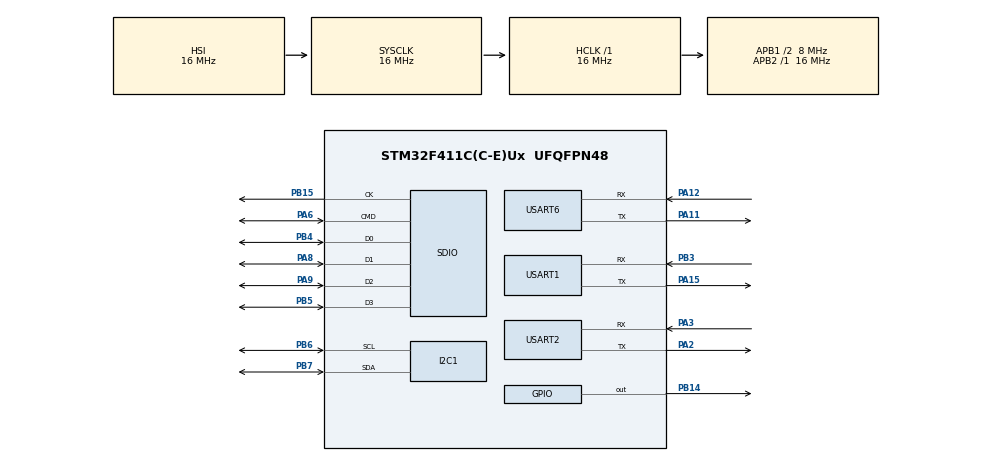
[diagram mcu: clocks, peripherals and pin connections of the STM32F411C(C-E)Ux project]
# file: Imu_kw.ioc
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Dma.Request0=SDIO_RX
Dma.Request1=SDIO_TX
Dma.Request2=USART2_RX
Dma.SDIO_RX.0.Direction=DMA_PERIPH_TO_MEMORY
Dma.SDIO_RX.0.FIFOMode=DMA_FIFOMODE_ENABLE
Dma.SDIO_RX.0.FIFOThreshold=DMA_FIFO_THRESHOLD_FULL
Dma.SDIO_RX.0.Instance=DMA2_Stream3
Dma.SDIO_RX.0.MemBurst=DMA_MBURST_INC4
Dma.SDIO_RX.0.MemDataAlignment=DMA_MDATAALIGN_WORD
Dma.SDIO_RX.0.MemInc=DMA_MINC_ENABLE
Dma.SDIO_RX.0.Mode=DMA_PFCTRL
Dma.SDIO_RX.0.PeriphBurst=DMA_PBURST_INC4
Dma.SDIO_RX.0.PeriphDataAlignment=DMA_PDATAALIGN_WORD
Dma.SDIO_RX.0.PeriphInc=DMA_PINC_DISABLE
Dma.SDIO_RX.0.Priority=DMA_PRIORITY_LOW
Dma.SDIO_TX.1.Direction=DMA_MEMORY_TO_PERIPH
Dma.SDIO_TX.1.FIFOMode=DMA_FIFOMODE_ENABLE
Dma.SDIO_TX.1.FIFOThreshold=DMA_FIFO_THRESHOLD_FULL
Dma.SDIO_TX.1.Instance=DMA2_Stream6
Dma.SDIO_TX.1.MemBurst=DMA_MBURST_INC4
Dma.SDIO_TX.1.MemDataAlignment=DMA_MDATAALIGN_WORD
Dma.SDIO_TX.1.MemInc=DMA_MINC_ENABLE
Dma.SDIO_TX.1.Mode=DMA_PFCTRL
Dma.SDIO_TX.1.PeriphBurst=DMA_PBURST_INC4
Dma.SDIO_TX.1.PeriphDataAlignment=DMA_PDATAALIGN_WORD
Dma.SDIO_TX.1.PeriphInc=DMA_PINC_DISABLE
Dma.SDIO_TX.1.Priority=DMA_PRIORITY_LOW
Dma.USART2_RX.2.Direction=DMA_PERIPH_TO_MEMORY
Dma.USART2_RX.2.FIFOMode=DMA_FIFOMODE_DISABLE
Dma.USART2_RX.2.Instance=DMA1_Stream5
Dma.USART2_RX.2.MemDataAlignment=DMA_MDATAALIGN_BYTE
Dma.USART2_RX.2.MemInc=DMA_MINC_ENABLE
Dma.USART2_RX.2.Mode=DMA_CIRCULAR
Dma.USART2_RX.2.PeriphDataAlignment=DMA_PDATAALIGN_BYTE
Dma.USART2_RX.2.PeriphInc=DMA_PINC_DISABLE
Dma.USART2_RX.2.Priority=DMA_PRIORITY_LOW
FATFS._MAX_SS=4096
FREERTOS.Tasks01=defaultTask,0,128,StartDefaultTask,Default,NULL
FREERTOS.configTICK_RATE_HZ=1000
Mcu.Family=STM32F4
Mcu.Name=STM32F411C(C-E)Ux
Mcu.Package=UFQFPN48
NVIC.DMA1_Stream5_IRQn=true\:5\:0\:false\:false\:true\:true\:false\:true
NVIC.DMA2_Stream3_IRQn=true\:5\:0\:false\:false\:true\:true\:false\:true
NVIC.DMA2_Stream6_IRQn=true\:5\:0\:false\:false\:true\:true\:false\:true
NVIC.PriorityGroup=NVIC_PRIORITYGROUP_4
NVIC.SDIO_IRQn=true\:5\:0\:false\:false\:true\:true\:true\:true
NVIC.TIM4_IRQn=true\:5\:0\:false\:false\:true\:true\:true\:true
NVIC.TIM5_IRQn=true\:0\:0\:false\:false\:true\:false\:false\:true
NVIC.TimeBase=TIM5_IRQn
NVIC.TimeBaseIP=TIM5
NVIC.USART1_IRQn=true\:5\:0\:false\:false\:true\:true\:true\:true
PA11.Mode=Asynchronous
PA11.Signal=USART6_TX
PA12.Mode=Asynchronous
PA12.Signal=USART6_RX
PA15.Mode=Asynchronous
PA15.Signal=USART1_TX
PA2.Mode=Asynchronous
PA2.Signal=USART2_TX
PA3.Mode=Asynchronous
PA3.Signal=USART2_RX
PA6.GPIO_PuPd=GPIO_PULLUP
PA6.Mode=SD_4_bits_Wide_bus
PA6.Signal=SDIO_CMD
PA8.GPIO_PuPd=GPIO_PULLUP
PA8.Mode=SD_4_bits_Wide_bus
PA8.Signal=SDIO_D1
PA9.GPIO_PuPd=GPIO_PULLUP
PA9.Mode=SD_4_bits_Wide_bus
PA9.Signal=SDIO_D2
PB14.Signal=GPIO_Output
PB15.Mode=SD_4_bits_Wide_bus
PB15.Signal=SDIO_CK
PB3.Mode=Asynchronous
PB3.Signal=USART1_RX
PB4.GPIO_PuPd=GPIO_PULLUP
PB4.Mode=SD_4_bits_Wide_bus
PB4.Signal=SDIO_D0
PB5.GPIO_PuPd=GPIO_PULLUP
PB5.Mode=SD_4_bits_Wide_bus
PB5.Signal=SDIO_D3
PB6.Mode=I2C
PB6.Signal=I2C1_SCL
PB7.Mode=I2C
PB7.Signal=I2C1_SDA
PH0\ -\ OSC_IN.Mode=HSE-External-Oscillator
PH0\ -\ OSC_IN.Signal=RCC_OSC_IN
PH1\ -\ OSC_OUT.Mode=HSE-External-Oscillator
PH1\ -\ OSC_OUT.Signal=RCC_OSC_OUT
ProjectManager.HeapSize=0x200
ProjectManager.StackSize=0x400
ProjectManager.TargetToolchain=MDK-ARM V5
RCC.48MHZClocksFreq_Value=42666666.666666664
RCC.AHBFreq_Value=16000000
RCC.APB1CLKDivider=RCC_HCLK_DIV2
RCC.APB1Freq_Value=8000000
RCC.APB1TimFreq_Value=16000000
RCC.APB2Freq_Value=16000000
RCC.APB2TimFreq_Value=16000000
RCC.CortexFreq_Value=16000000
RCC.HCLKFreq_Value=16000000
RCC.HSE_VALUE=8000000
RCC.HSI_VALUE=16000000
RCC.LSE_VALUE=32768
RCC.PLLM=8
RCC.PLLN=64
RCC.PLLQ=3
RCC.SYSCLKFreq_VALUE=16000000
RCC.VCOOutputFreq_Value=128000000
SDIO.ClockDiv=3
TIM4.Period=10-1
TIM4.Prescaler=1600-1
TIM4.TIM_MasterOutputTrigger=TIM_TRGO_UPDATE
USART1.VirtualMode=VM_ASYNC
USART2.VirtualMode=VM_ASYNC
USART6.VirtualMode=VM_ASYNC
VP_FATFS_VS_SDIO.Mode=SDIO
VP_FREERTOS_VS_CMSIS_V1.Mode=CMSIS_V1
VP_SYS_VS_tim5.Mode=TIM5
VP_TIM4_VS_ClockSourceINT.Mode=Internal
board=custom

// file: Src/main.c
/* USER CODE BEGIN Header */
/**
  ******************************************************************************
  * @file           : main.c
  * @brief          : Main program body
  ******************************************************************************
  * @attention
  *
  * <h2><center>&copy; Copyright (c) 2020 STMicroelectronics.
  * All rights reserved.</center></h2>
  *
  * This software component is licensed by ST under Ultimate Liberty license
  * SLA0044, the "License"; You may not use this file except in compliance with
  * the License. You may obtain a copy of the License at:
  *                             www.st.com/SLA0044
  *
  ******************************************************************************
  */
/* USER CODE END Header */

#include "main.h"
#include "cmsis_os.h"
#include "fatfs.h"

/* USER CODE BEGIN Includes */
#include <stdio.h>
#include <string.h>
#include <stdbool.h>
//#include "UartRingbuffer.h"
/* USER CODE END Includes */

I2C_HandleTypeDef hi2c1;

SD_HandleTypeDef hsd;
DMA_HandleTypeDef hdma_sdio_rx;
DMA_HandleTypeDef hdma_sdio_tx;

TIM_HandleTypeDef htim4;

UART_HandleTypeDef huart1;
UART_HandleTypeDef huart2;
UART_HandleTypeDef huart6;
DMA_HandleTypeDef hdma_usart2_rx;

osThreadId defaultTaskHandle;

void SystemClock_Config(void);
static void MX_GPIO_Init(void);
static void MX_DMA_Init(void);
static void MX_USART1_UART_Init(void);
static void MX_USART2_UART_Init(void);
static void MX_SDIO_SD_Init(void);
static void MX_TIM4_Init(void);
static void MX_USART6_UART_Init(void);
static void MX_I2C1_Init(void);
void StartDefaultTask(void const * argument);

/* USER CODE BEGIN 0 */
//SD card variables
	extern char SDPath[4];   /* SD logical drive path */
	extern FATFS SDFatFS;    /* File system object for SD logical drive */
	extern FIL SDFile;       /* File object for SD */

//FILE I/O operation
	FRESULT res;                                          /* FatFs function common result code */
	uint32_t byteswritten, bytesread;                     /* File write/read counts */
	uint8_t wtext[] = "kwyeum!!xx\r\n"; 				  /* File write buffer */
	uint8_t rtext[100];                                   /* File read buffer */

	FATFS myFATAS;
	FIL myFILE;
	UINT testByte; // error detection

//Communication buffers
	uint8_t txdata[27]; // 28byte transfer // right foot(10) + left foot(10 + 2) + 4

	uint8_t rxdata[52]; // 52byte transfer + CRC
	uint8_t received_callback[1]; // 24byte transfer // right foot(10) + left foot(10 + 2) + 4
	unsigned char rxBuf[27] = {0};
	unsigned char rxBuf_PC[5] = {0};

	unsigned char rxBuf_transmit[27] = {0};
	unsigned char buff_index = 0;

	//------ring buffer with DMA
	uint16_t position = 0;
	char buffer[5];

	char myRdDATA[15];
//CRC Array
	uint32_t crcVal; // 4byte
	uint8_t test_k;

// timer var
	uint16_t ms_tmr = 0;
	uint16_t ms_sv_tmr = 0;

// flag data
	bool data_flag = false;

	bool datasave_flg = true;
	bool dataend_flg = false;

	bool data_received_flag = false;
	bool data_transmit_flag = false;
	bool stop = false;

	uint16_t tmr = 0;
/* USER CODE END 0 */

int main(void)
{
  /* USER CODE BEGIN 1 */

	test_k = 0;

  /* USER CODE END 1 */

  /* MCU Configuration--------------------------------------------------------*/

  /* Reset of all peripherals, Initializes the Flash interface and the Systick. */
  HAL_Init();

  /* Configure the system clock */
  SystemClock_Config();

  /* Initialize all configured peripherals */
  MX_GPIO_Init();
  MX_DMA_Init();
  MX_USART1_UART_Init();
  MX_USART2_UART_Init();
  MX_SDIO_SD_Init();
  MX_TIM4_Init();
  MX_USART6_UART_Init();
  MX_I2C1_Init();
  /* USER CODE BEGIN 2 */
	HAL_UART_Receive_DMA(&huart2, (uint8_t *)rxBuf, 27); //dma mode only in the mcu data

	HAL_TIM_Base_Start_IT(&htim4);
  /* USER CODE END 2 */

  /* Create the thread(s) */
  /* definition and creation of defaultTask */
  osThreadDef(defaultTask, StartDefaultTask, osPriorityNormal, 0, 128);
  defaultTaskHandle = osThreadCreate(osThread(defaultTask), NULL);

  /* Start scheduler */
  osKernelStart();

  /* We should never get here as control is now taken by the scheduler */

  /* Infinite loop */
  while (1)
  {

  }
}

void SystemClock_Config(void)
{
  RCC_OscInitTypeDef RCC_OscInitStruct = {0};
  RCC_ClkInitTypeDef RCC_ClkInitStruct = {0};

  /** Configure the main internal regulator output voltage
  */
  __HAL_RCC_PWR_CLK_ENABLE();
  __HAL_PWR_VOLTAGESCALING_CONFIG(PWR_REGULATOR_VOLTAGE_SCALE1);
  /** Initializes the CPU, AHB and APB busses clocks
  */
  RCC_OscInitStruct.OscillatorType = RCC_OSCILLATORTYPE_HSI;
  RCC_OscInitStruct.HSIState = RCC_HSI_ON;
  RCC_OscInitStruct.HSICalibrationValue = RCC_HSICALIBRATION_DEFAULT;
  RCC_OscInitStruct.PLL.PLLState = RCC_PLL_ON;
  RCC_OscInitStruct.PLL.PLLSource = RCC_PLLSOURCE_HSI;
  RCC_OscInitStruct.PLL.PLLM = 8;
  RCC_OscInitStruct.PLL.PLLN = 64;
  RCC_OscInitStruct.PLL.PLLP = RCC_PLLP_DIV2;
  RCC_OscInitStruct.PLL.PLLQ = 3;
  if (HAL_RCC_OscConfig(&RCC_OscInitStruct) != HAL_OK)
  {
    Error_Handler();
  }
  /** Initializes the CPU, AHB and APB busses clocks
  */
  RCC_ClkInitStruct.ClockType = RCC_CLOCKTYPE_HCLK|RCC_CLOCKTYPE_SYSCLK
                              |RCC_CLOCKTYPE_PCLK1|RCC_CLOCKTYPE_PCLK2;
  RCC_ClkInitStruct.SYSCLKSource = RCC_SYSCLKSOURCE_HSI;
  RCC_ClkInitStruct.AHBCLKDivider = RCC_SYSCLK_DIV1;
  RCC_ClkInitStruct.APB1CLKDivider = RCC_HCLK_DIV2;
  RCC_ClkInitStruct.APB2CLKDivider = RCC_HCLK_DIV1;

  if (HAL_RCC_ClockConfig(&RCC_ClkInitStruct, FLASH_LATENCY_0) != HAL_OK)
  {
    Error_Handler();
  }
}

static void MX_I2C1_Init(void)
{

  hi2c1.Instance = I2C1;
  hi2c1.Init.ClockSpeed = 100000;
  hi2c1.Init.DutyCycle = I2C_DUTYCYCLE_2;
  hi2c1.Init.OwnAddress1 = 0;
  hi2c1.Init.AddressingMode = I2C_ADDRESSINGMODE_7BIT;
  hi2c1.Init.DualAddressMode = I2C_DUALADDRESS_DISABLE;
  hi2c1.Init.OwnAddress2 = 0;
  hi2c1.Init.GeneralCallMode = I2C_GENERALCALL_DISABLE;
  hi2c1.Init.NoStretchMode = I2C_NOSTRETCH_DISABLE;
  if (HAL_I2C_Init(&hi2c1) != HAL_OK)
  {
    Error_Handler();
  }

}

static void MX_SDIO_SD_Init(void)
{

  hsd.Instance = SDIO;
  hsd.Init.ClockEdge = SDIO_CLOCK_EDGE_RISING;
  hsd.Init.ClockBypass = SDIO_CLOCK_BYPASS_DISABLE;
  hsd.Init.ClockPowerSave = SDIO_CLOCK_POWER_SAVE_DISABLE;
  hsd.Init.BusWide = SDIO_BUS_WIDE_1B;
  hsd.Init.HardwareFlowControl = SDIO_HARDWARE_FLOW_CONTROL_DISABLE;
  hsd.Init.ClockDiv = 3;

}

static void MX_TIM4_Init(void)
{

  TIM_ClockConfigTypeDef sClockSourceConfig = {0};
  TIM_MasterConfigTypeDef sMasterConfig = {0};

  htim4.Instance = TIM4;
  htim4.Init.Prescaler = 1600-1;
  htim4.Init.CounterMode = TIM_COUNTERMODE_UP;
  htim4.Init.Period = 10-1;
  htim4.Init.ClockDivision = TIM_CLOCKDIVISION_DIV1;
  htim4.Init.AutoReloadPreload = TIM_AUTORELOAD_PRELOAD_DISABLE;
  if (HAL_TIM_Base_Init(&htim4) != HAL_OK)
  {
    Error_Handler();
  }
  sClockSourceConfig.ClockSource = TIM_CLOCKSOURCE_INTERNAL;
  if (HAL_TIM_ConfigClockSource(&htim4, &sClockSourceConfig) != HAL_OK)
  {
    Error_Handler();
  }
  sMasterConfig.MasterOutputTrigger = TIM_TRGO_UPDATE;
  sMasterConfig.MasterSlaveMode = TIM_MASTERSLAVEMODE_DISABLE;
  if (HAL_TIMEx_MasterConfigSynchronization(&htim4, &sMasterConfig) != HAL_OK)
  {
    Error_Handler();
  }

}

static void MX_USART1_UART_Init(void)
{

  huart1.Instance = USART1;
  huart1.Init.BaudRate = 115200;
  huart1.Init.WordLength = UART_WORDLENGTH_8B;
  huart1.Init.StopBits = UART_STOPBITS_1;
  huart1.Init.Parity = UART_PARITY_NONE;
  huart1.Init.Mode = UART_MODE_TX_RX;
  huart1.Init.HwFlowCtl = UART_HWCONTROL_NONE;
  huart1.Init.OverSampling = UART_OVERSAMPLING_16;
  if (HAL_UART_Init(&huart1) != HAL_OK)
  {
    Error_Handler();
  }

}

static void MX_USART2_UART_Init(void)
{

  huart2.Instance = USART2;
  huart2.Init.BaudRate = 115200;
  huart2.Init.WordLength = UART_WORDLENGTH_8B;
  huart2.Init.StopBits = UART_STOPBITS_1;
  huart2.Init.Parity = UART_PARITY_NONE;
  huart2.Init.Mode = UART_MODE_TX_RX;
  huart2.Init.HwFlowCtl = UART_HWCONTROL_NONE;
  huart2.Init.OverSampling = UART_OVERSAMPLING_16;
  if (HAL_UART_Init(&huart2) != HAL_OK)
  {
    Error_Handler();
  }

}

static void MX_USART6_UART_Init(void)
{

  huart6.Instance = USART6;
  huart6.Init.BaudRate = 115200;
  huart6.Init.WordLength = UART_WORDLENGTH_8B;
  huart6.Init.StopBits = UART_STOPBITS_1;
  huart6.Init.Parity = UART_PARITY_NONE;
  huart6.Init.Mode = UART_MODE_TX_RX;
  huart6.Init.HwFlowCtl = UART_HWCONTROL_NONE;
  huart6.Init.OverSampling = UART_OVERSAMPLING_16;
  if (HAL_UART_Init(&huart6) != HAL_OK)
  {
    Error_Handler();
  }

}

static void MX_DMA_Init(void)
{

  /* DMA controller clock enable */
  __HAL_RCC_DMA2_CLK_ENABLE();
  __HAL_RCC_DMA1_CLK_ENABLE();

  /* DMA interrupt init */
  /* DMA1_Stream5_IRQn interrupt configuration */
  HAL_NVIC_SetPriority(DMA1_Stream5_IRQn, 5, 0);
  HAL_NVIC_EnableIRQ(DMA1_Stream5_IRQn);
  /* DMA2_Stream3_IRQn interrupt configuration */
  HAL_NVIC_SetPriority(DMA2_Stream3_IRQn, 5, 0);
  HAL_NVIC_EnableIRQ(DMA2_Stream3_IRQn);
  /* DMA2_Stream6_IRQn interrupt configuration */
  HAL_NVIC_SetPriority(DMA2_Stream6_IRQn, 5, 0);
  HAL_NVIC_EnableIRQ(DMA2_Stream6_IRQn);

}

static void MX_GPIO_Init(void)
{
  GPIO_InitTypeDef GPIO_InitStruct = {0};

  /* GPIO Ports Clock Enable */
  __HAL_RCC_GPIOH_CLK_ENABLE();
  __HAL_RCC_GPIOA_CLK_ENABLE();
  __HAL_RCC_GPIOB_CLK_ENABLE();

  /*Configure GPIO pin Output Level */
  HAL_GPIO_WritePin(GPIOB, GPIO_PIN_14, GPIO_PIN_RESET);

  /*Configure GPIO pin : PB14 */
  GPIO_InitStruct.Pin = GPIO_PIN_14;
  GPIO_InitStruct.Mode = GPIO_MODE_OUTPUT_PP;
  GPIO_InitStruct.Pull = GPIO_NOPULL;
  GPIO_InitStruct.Speed = GPIO_SPEED_FREQ_LOW;
  HAL_GPIO_Init(GPIOB, &GPIO_InitStruct);

}

/* USER CODE BEGIN 4 */
void HAL_UART_TxCpltCallback(UART_HandleTypeDef *huart)
{
  /* Prevent unused argument(s) compilation warning */
if(huart->Instance == USART1){

	HAL_GPIO_TogglePin(GPIOB,GPIO_PIN_14);

}	/* NOTE: This function should not be modified, when the callback is needed,
           the HAL_UART_TxCpltCallback could be implemented in the user file
   */
}

void HAL_UART_RxCpltCallback(UART_HandleTypeDef *huart)
{
  /* Prevent unused argument(s) compilation warning */
  /* NOTE: This function should not be modified, when the callback is needed,
           the HAL_UART_RxCpltCallback could be implemented in the user file
   */
	//add ring buffer
	// data pacing and save buff to transmit array
	if(huart->Instance == USART2){
		HAL_GPIO_TogglePin(GPIOB, GPIO_PIN_12);
		//if(!data_transmit_flag){
				char buff_maxsize = 27;
				for(char i = buff_index; i<buff_maxsize; i++){
				//buff set check
				//buffer size % control
				char buff_end = (i+26)%buff_maxsize;
				char buff_index_2 = (i+1)%buff_maxsize;
				char buff_end_2 = (i+25)%buff_maxsize;

				if(rxBuf[i] == 0xFF && rxBuf[buff_index_2] == 0xFF&& rxBuf[buff_end_2] == 0xFF&& rxBuf[buff_end] == 0xFE){
				HAL_GPIO_TogglePin(GPIOB, GPIO_PIN_13);
//				received_callback[0] = ';';
//				HAL_UART_Transmit(&huart2,received_callback,1,1);

					//Data save
						for(int j =0; j<buff_maxsize; j++)
						{
						int k = (i+j)%buff_maxsize;
						rxBuf_transmit[j] = rxBuf[k];
						}
					//data_transmit_flag = true;
					break;
					}
				}
		//}
	}
}

void System_commend(){
	// --> data set up, save for the system

}
/* USER CODE END 4 */

void StartDefaultTask(void const * argument)
{

  /* init code for FATFS */
  MX_FATFS_Init();

  /* USER CODE BEGIN 5 */
	//1. Mount
	f_mount(&SDFatFS, (TCHAR const*)SDPath, 1);

  /* Infinite loop */
  for(;;)
  {
	  //system commend mode

	//  System_commend();

	/* Open or create a log file and ready to append */
    /* Append a line */
		//right foot - left foot
	  if(data_transmit_flag){

		txdata[0] = 0xFF;
		txdata[1] = 0xFF;

		for(int i =0; i<23; i++){
		txdata[2+i] = 0x00;
		}

		txdata[25] = 0xFF;
		txdata[26] = 0xFE;

	//TRANSMIT DATA TO PC

	HAL_UART_Transmit(&huart1,txdata,27,5);  // BT1 : transmit, BT2 : receive'
	data_transmit_flag = false;
	}
  }
  /* USER CODE END 5 */
}

void HAL_TIM_PeriodElapsedCallback(TIM_HandleTypeDef *htim)
{
  if (htim->Instance == TIM5) {
    HAL_IncTick();
  }
  /* USER CODE BEGIN Callback 1 */
	if(htim ->Instance  == TIM4){
	ms_tmr++;
	if(ms_tmr % 10 == 0)
	{
		ms_tmr = 0;
		data_transmit_flag = true;
		ms_sv_tmr++;
	}
	}
  /* USER CODE END Callback 1 */
}

void Error_Handler(void)
{
}

/************************ (C) COPYRIGHT STMicroelectronics *****END OF FILE****/
